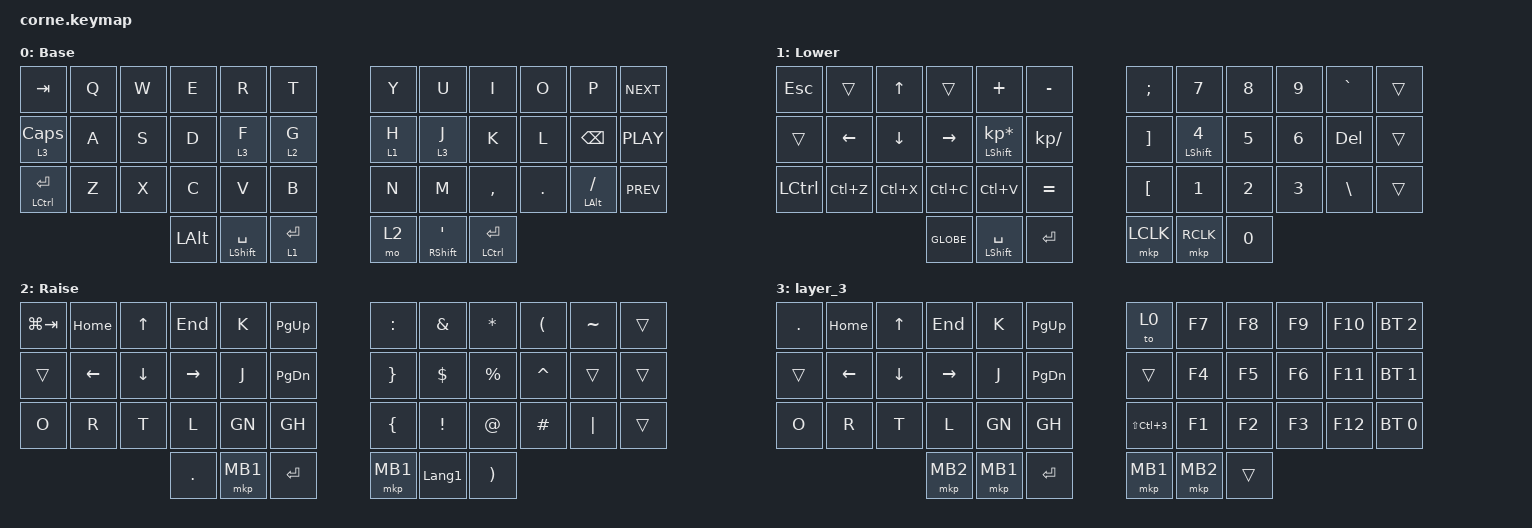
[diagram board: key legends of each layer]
/*
 * Copyright (c) 2020 The ZMK Contributors
 *
 * SPDX-License-Identifier: MIT
 */

#include <behaviors.dtsi>
#include <dt-bindings/zmk/bt.h>
#include <dt-bindings/zmk/keys.h>
#include <dt-bindings/zmk/mouse.h>

/ {
    combos {
        compatible = "zmk,combos";

        langKREN {
            bindings = <&kp RIGHT_ALT>;
            key-positions = <33 34>;
        };

        langJP {
            bindings = <&kp LG(SPACE)>;
            key-positions = <34 35>;
        };

        tolayer0 {
            bindings = <&to 0>;
            key-positions = <6 30>;
        };

        Exclamation {
            bindings = <&kp EXCLAMATION>;
            key-positions = <38 39>;
        };

        layer1 {
            bindings = <&tog 1>;
            key-positions = <7 18>;
        };

        layer2 {
            bindings = <&tog 2>;
            key-positions = <8 18>;
        };

        layer3 {
            bindings = <&tog 3>;
            key-positions = <9 18>;
        };

        bl0 {
            bindings = <&bt BT_SEL 0>;
            key-positions = <4 17>;
        };

        bl1 {
            bindings = <&bt BT_SEL 1>;
            key-positions = <3 17>;
        };

        bl2 {
            bindings = <&bt BT_SEL 2>;
            key-positions = <2 17>;
        };

        left_BS {
            bindings = <&kp BACKSPACE>;
            key-positions = <29 28>;
        };

        right_DEL {
            bindings = <&kp DEL>;
            key-positions = <31 30>;
        };

        blt_reset {
            bindings = <&bt BT_CLR>;
            key-positions = <5 29>;
        };
    };

    macros {
        GH: GH {
            compatible = "zmk,behavior-macro";
            #binding-cells = <0>;
            bindings = <&sk G &kp H>;
            label = "GH";
        };

        GN: GN {
            compatible = "zmk,behavior-macro";
            #binding-cells = <0>;
            bindings = <&sk G &kp N>;
            label = "GN";
        };
    };

    keymap {
        compatible = "zmk,keymap";

        default_layer {
            // -----------------------------------------------------------------------------------------
            // |  TAB |  Q  |  W  |  E  |  R  |  T  |   |  Y  |  U   |  I  |  O  |  P  | BKSP |
            // | CTRL |  A  |  S  |  D  |  F  |  G  |   |  H  |  J   |  K  |  L  |  ;  |  '   |
            // | SHFT |  Z  |  X  |  C  |  V  |  B  |   |  N  |  M   |  ,  |  .  |  /  | ESC  |
            //                    | GUI | LWR | SPC |   | ENT | RSE  | ALT |

            display-name = "Base";
            bindings = <
&kp TAB                 &kp Q  &kp W  &kp E         &kp R                 &kp T          &kp Y    &kp U                 &kp I            &kp O    &kp P               &kp C_NEXT
&lt 3 CAPS              &kp A  &kp S  &kp D         &lt 3 F               &lt 2 G        &lt 1 H  &lt 3 J               &kp K            &kp L    &kp BACKSPACE       &kp C_PLAY
&mt LEFT_CONTROL ENTER  &kp Z  &kp X  &kp C         &kp V                 &kp B          &kp N    &kp M                 &kp COMMA        &kp DOT  &mt LEFT_ALT SLASH  &kp C_PREV
                                      &kp LEFT_ALT  &mt LEFT_SHIFT SPACE  &lt 1 ENTER    &mo 2    &mt RIGHT_SHIFT APOS  &mt LCTRL ENTER
            >;
        };

        lower_layer {
            // -----------------------------------------------------------------------------------------
            // |  TAB |  1  |  2  |  3  |  4  |  5  |   |  6  |  7  |  8  |  9  |  0  | BKSP |
            // | BTCLR| BT1 | BT2 | BT3 | BT4 | BT5 |   | LFT | DWN |  UP | RGT |     |      |
            // | SHFT |     |     |     |     |     |   |     |     |     |     |     |      |
            //                    | GUI |     | SPC |   | ENT |     | ALT |

            display-name = "Lower";
            bindings = <
&kp ESC    &trans     &kp UP_ARROW    &trans     &kp PLUS                    &kp MINUS        &kp SEMICOLON      &kp N7                   &kp N8        &kp N9        &kp GRAVE      &trans
&trans     &kp LEFT   &kp DOWN_ARROW  &kp RIGHT  &mt LEFT_SHIFT KP_ASTERISK  &kp KP_DIVIDE    &kp RIGHT_BRACKET  &mt LEFT_SHIFT NUMBER_4  &kp NUMBER_5  &kp NUMBER_6  &kp DEL        &trans
&kp LCTRL  &kp LC(Z)  &kp LC(X)       &kp LC(C)  &kp LC(V)                   &kp EQUAL        &kp LEFT_BRACKET   &kp NUMBER_1             &kp NUMBER_2  &kp NUMBER_3  &kp BACKSLASH  &trans
                                      &kp GLOBE  &mt LEFT_SHIFT SPACE        &kp ENTER        &mkp LCLK          &mkp RCLK                &kp NUMBER_0
            >;
        };

        raise_layer {
            // -----------------------------------------------------------------------------------------
            // |  TAB |  !  |  @  |  #  |  $  |  %  |   |  ^  |  &  |  *  |  (  |  )  | BKSP |
            // | CTRL |     |     |     |     |     |   |  -  |  =  |  [  |  ]  |  \  |  `   |
            // | SHFT |     |     |     |     |     |   |  _  |  +  |  {  |  }  | "|" |  ~   |
            //                    | GUI |     | SPC |   | ENT |     | ALT |

            display-name = "Raise";
            bindings = <
&kp LG(TAB)  &kp HOME  &kp UP_ARROW  &kp END     &kp K     &kp PG_UP    &kp COLON        &kp AMPERSAND   &kp STAR               &kp LEFT_PARENTHESIS  &kp TILDE  &trans
&trans       &kp LEFT  &kp DOWN      &kp RIGHT   &kp J     &kp PG_DN    &kp RIGHT_BRACE  &kp DOLLAR      &kp PERCENT            &kp CARET             &trans     &trans
&kp O        &kp R     &kp T         &kp L       &GN       &GH          &kp LEFT_BRACE   &kp EXCL        &kp AT                 &kp POUND             &kp PIPE   &trans
                                     &kp PERIOD  &mkp MB1  &kp ENTER    &mkp MB1         &kp LANGUAGE_1  &kp RIGHT_PARENTHESIS
            >;
        };

        layer_3 {
            bindings = <
&kp PERIOD  &kp HOME        &kp UP    &kp END    &kp K     &kp PG_UP    &to 0                 &kp F7    &kp F8  &kp F9  &kp F10  &bt BT_SEL 2
&trans      &kp LEFT_ARROW  &kp DOWN  &kp RIGHT  &kp J     &kp PG_DN    &trans                &kp F4    &kp F5  &kp F6  &kp F11  &bt BT_SEL 1
&kp O       &kp R           &kp T     &kp L      &GN       &GH          &kp LS(LC(NUMBER_3))  &kp F1    &kp F2  &kp F3  &kp F12  &bt BT_SEL 0
                                      &mkp MB2   &mkp MB1  &kp ENTER    &mkp MB1              &mkp MB2  &trans
            >;
        };
    };
};
